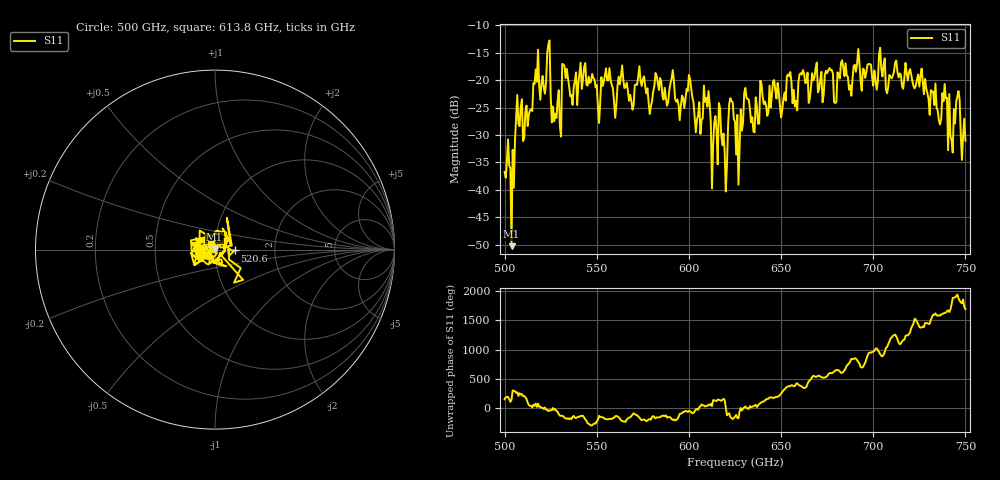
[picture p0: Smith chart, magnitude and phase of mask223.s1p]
!Created with skrf (http://scikit-rf.org).
# GHz S MA R 50.0
!freq magS11 angS11
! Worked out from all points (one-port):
!   401 points, 500 GHz to 750 GHz, reference 50 ohm
!   lowest |S11| = -50.3 dB at 503.8 GHz (marker M1), VSWR 1.01, Z = 49.8 + j0.211 ohm
!   |S11| at or under -10 dB: start of sweep to end of sweep
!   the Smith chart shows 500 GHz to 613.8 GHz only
!   S11 on the Smith chart (normalised r, x): 500 GHz: 0.98, +0.02; 520.6 GHz: 1.24, -0.01; 613.8 GHz: 0.95, +0.06
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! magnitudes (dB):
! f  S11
! 500 GHz  -36.7
! 503.8 GHz  -50.3
! 508.1 GHz  -28.4
! 520.6 GHz  -19.2
! 523.8 GHz  -13.5
! 526.9 GHz  -27.5
! 531.2 GHz  -17.1
! 532.5 GHz  -17.4
! 550.6 GHz  -24.8
! 562.5 GHz  -20.8
! 593.8 GHz  -23.5
! 609.4 GHz  -23.2
! 613.8 GHz  -27.8
! 617.5 GHz  -29.8
! 619.4 GHz  -32.9
! 622.5 GHz  -23.3
! 625 GHz  -27.6
! 626.2 GHz  -26.3
! 631.2 GHz  -23.3
! 634.4 GHz  -26.8
! 656.2 GHz  -24.2
! 687.5 GHz  -21.0
! 718.8 GHz  -20.1
! 735.6 GHz  -27.4
! 738.8 GHz  -20.7
! 741.9 GHz  -30.2
! 745.6 GHz  -23.0
! 750 GHz  -31.0
